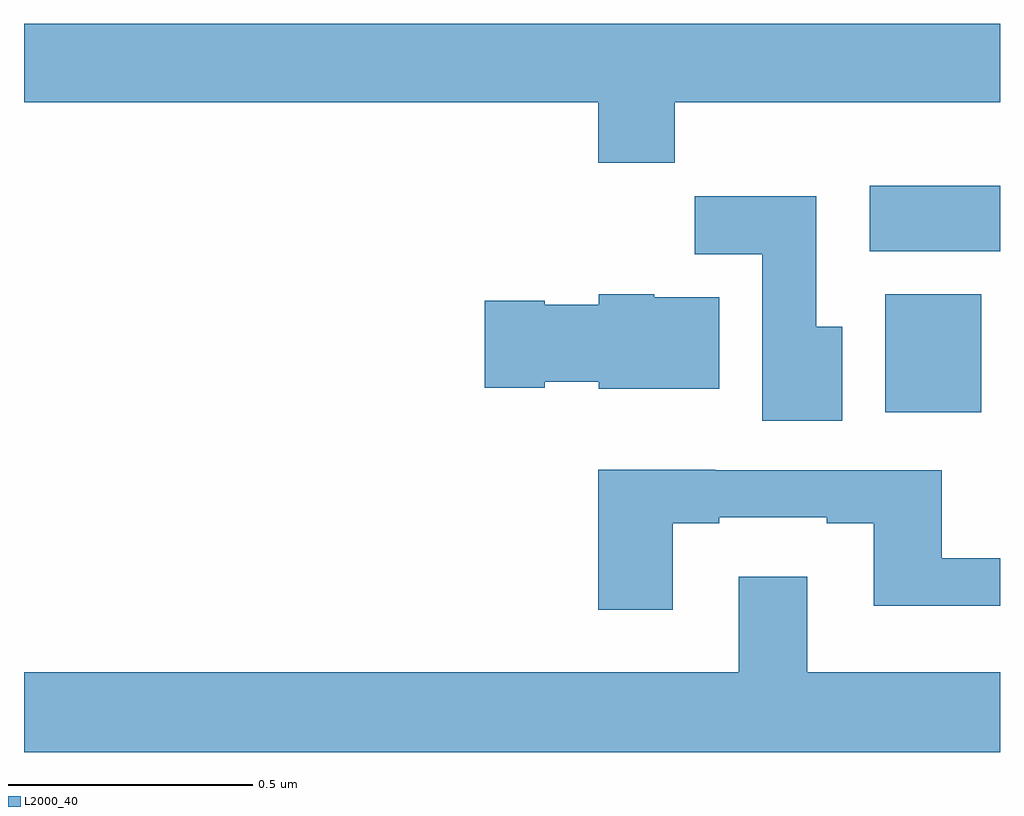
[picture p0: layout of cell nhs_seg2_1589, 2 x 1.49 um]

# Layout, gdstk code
import gdstk
lib = gdstk.Library(unit=1e-6, precision=1e-09)
def R(c, l, rs):  # rectangles x0, y0, x1, y1
    for r in rs: c.add(gdstk.rectangle(r[:2], r[2:], *l))
def P(c, l, *ps):  # polygons
    for p in ps: c.add(gdstk.Polygon(p, *l))
L2000_40 = (2000, 40)

nhs_seg2_1589 = lib.new_cell('nhs_seg2_1589')
R(nhs_seg2_1589, L2000_40, [(131.765,643.004,131.962,643.246), (131.733,643.334,132,643.468)])
P(nhs_seg2_1589, L2000_40, [(131.333,643.64),(132,643.64),(132,643.8),(130,643.8),(130,643.64),(131.177,643.64),(131.177,643.516),(131.333,643.516)],
  [(131.677,643.18),(131.623,643.18),(131.623,643.447),(131.374,643.447),(131.374,643.328),(131.513,643.328),(131.513,642.987),(131.677,642.987)],
  [(131.425,643.24),(131.292,643.24),(131.292,643.246),(131.178,643.246),(131.178,643.225),(131.067,643.225),(131.067,643.233),(130.944,643.233),(130.944,643.055),(131.067,643.055),(131.067,643.067),(131.178,643.067),(131.178,643.052),(131.425,643.052)],
  [(131.329,642.777),(131.425,642.777),(131.425,642.789),(131.645,642.789),(131.645,642.777),(131.741,642.777),(131.741,642.608),(132,642.608),(132,642.705),(131.881,642.705),(131.881,642.885),(131.417,642.885),(131.417,642.886),(131.177,642.886),(131.177,642.6),(131.329,642.6)],
  [(132,642.472),(131.605,642.472),(131.605,642.667),(131.465,642.667),(131.465,642.472),(130,642.472),(130,642.308),(132,642.308)])

lib.write_gds('nhs_seg2_1589.gds')
